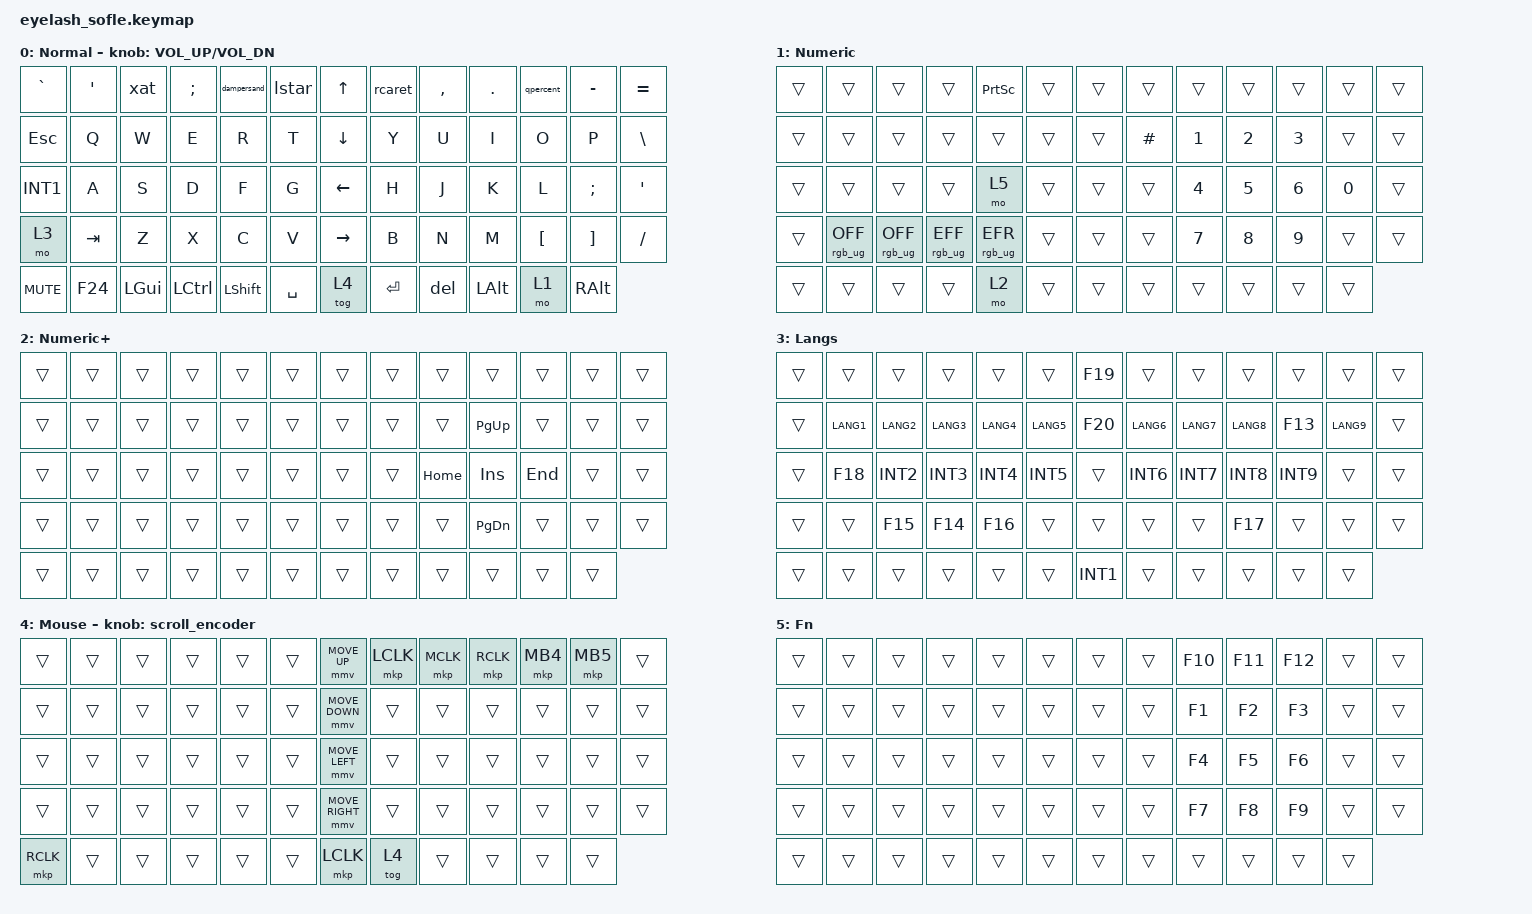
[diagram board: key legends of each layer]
#include <dt-bindings/zmk/mouse.h>
#include <input/processors.dtsi>
#include <zephyr/dt-bindings/input/input-event-codes.h>
#include <behaviors.dtsi>
#include <dt-bindings/zmk/bt.h>
#include <dt-bindings/zmk/ext_power.h>
#include <dt-bindings/zmk/keys.h>
#include <dt-bindings/zmk/pointing.h>
#include <dt-bindings/zmk/rgb.h>
#include <dt-bindings/zmk/outputs.h>

#define ZMK_POINTING_DEFAULT_MOVE_VAL 600
#define ZMK_POINTING_DEFAULT_SCRL_VAL 4

&mmv_input_listener { input-processors = <&zip_xy_scaler 2 1>; };

/* &msc_input_listener { input-processors = <&zip_scroll_scaler 2 1>; }; */

&msc {
    acceleration-exponent = <0>;
    time-to-max-speed-ms = <300>;
    delay-ms = <0>;
};

&mmv {
    time-to-max-speed-ms = <500>;
    acceleration-exponent = <1>;
    trigger-period-ms = <16>;
};


/ {

    scroll_encoder: scroll_encoder {
        compatible = "zmk,behavior-sensor-rotate";
        #sensor-binding-cells = <0>;
        bindings = <&msc SCRL_DOWN>, <&msc SCRL_UP>;
        tap-ms = <100>;
    };

    behaviors {
        // keymap to map ? and % to the same key 
        qpercent: question_percent {
            compatible = "zmk,behavior-mod-morph";
            #binding-cells = <0>;
            bindings = <&kp QMARK>, <&kp PERCENT>;
            mods = <MOD_LSFT>;
        };
        // keymap to map ! and @ to the same key 
        xat: exclamation_at {
            compatible = "zmk,behavior-mod-morph";
            #binding-cells = <0>;
            bindings = <&kp EXCL>, <&kp AT>;
            mods = <MOD_LSFT>;
        };
        // keymap to map $ and & to the same key 
        dampersand: dollar_ampersand {
            compatible = "zmk,behavior-mod-morph";
            #binding-cells = <0>;
            bindings = <&kp DOLLAR>, <&kp AMPERSAND>;
            mods = <MOD_LSFT>;
        };
        // keymap to map (  and * to the same key 
        lstar: lstar {
            compatible = "zmk,behavior-mod-morph";
            #binding-cells = <0>;
            bindings = <&kp LPAR>, <&kp ASTERISK>;
            mods = <MOD_LSFT>;
        };
        // keymap to map )  and ^ to the same key 
        rcaret: rcaret {
            compatible = "zmk,behavior-mod-morph";
            #binding-cells = <0>;
            bindings = <&kp RPAR>, <&kp CARET>;
            mods = <MOD_LSFT>;
        };
        del: backspace_with_del {
            compatible = "zmk,behavior-mod-morph";
            #binding-cells = <0>;
            bindings = <&kp BSPC>, <&kp DEL>;
            mods = <MOD_LSFT>;
        };
        /* tog_on: toggle_layer_on_only { */
        /*     compatible = "zmk,behavior-toggle-layer"; */
        /*     #binding-cells = <1>; */
        /*     display-name = "Toggle Layer On"; */
        /*     toggle-mode = "on"; */
        /* }; */
    };



    keymap {
        compatible = "zmk,keymap";

        layer_0 {
            bindings = <
&kp GRAVE   &kp APOS   &xat          &kp SEMI      &dampersand     &lstar       &kp UP     &rcaret    &kp COMMA  &kp DOT    &qpercent        &kp MINUS   &kp EQUAL
&kp ESC     &kp Q      &kp W         &kp E         &kp R           &kp T        &kp DOWN   &kp Y      &kp U      &kp I      &kp O            &kp P       &kp BSLH
&kp INT1    &kp A      &kp S         &kp D         &kp F           &kp G        &kp LEFT   &kp H      &kp J      &kp K      &kp L            &kp SEMI    &kp APOS
&mo 3       &kp TAB    &kp Z         &kp X         &kp C           &kp V        &kp RIGHT  &kp B      &kp N      &kp M      &kp LBKT         &kp RBKT    &kp FSLH
&kp C_MUTE  &kp F24    &kp LEFT_GUI  &kp LCTRL     &kp LSHFT       &kp SPACE    &tog 4     &kp ENTER  &del       &kp LALT   &mo 1            &kp RALT
            >;

            sensor-bindings = <&inc_dec_kp C_VOLUME_UP C_VOL_DN>;
            display-name = "Normal";
        };

        layer_1 {
            bindings = <
&trans      &trans          &trans          &trans            &kp PSCRN            &trans        &trans       &trans       &trans       &trans     &trans    &trans    &trans
&trans      &trans          &trans          &trans            &trans            &trans        &trans       &kp POUND    &kp N1       &kp N2     &kp N3    &trans    &trans
&trans      &trans          &trans          &trans            &mo 5             &trans        &trans       &trans       &kp N4       &kp N5     &kp N6    &kp N0       &trans
&trans      &rgb_ug RGB_OFF &rgb_ug RGB_OFF &rgb_ug RGB_EFF   &rgb_ug RGB_EFR   &trans        &trans       &trans       &kp N7       &kp N8     &kp N9    &trans    &trans
&trans      &trans          &trans          &trans            &mo 2             &trans        &trans       &trans       &trans       &trans     &trans    &trans
            >;
            display-name = "Numeric";
        };

        layer_2 {
            bindings = <
&trans      &trans          &trans          &trans            &trans            &trans        &trans       &trans       &trans       &trans     &trans    &trans    &trans
&trans      &trans          &trans          &trans            &trans            &trans        &trans       &trans       &trans       &kp PG_UP  &trans    &trans    &trans
&trans      &trans          &trans          &trans            &trans            &trans        &trans       &trans       &kp HOME     &kp INSERT &kp END   &trans    &trans
&trans      &trans          &trans          &trans            &trans            &trans        &trans       &trans       &trans       &kp PG_DN  &trans    &trans    &trans
&trans      &trans          &trans          &trans            &trans            &trans        &trans       &trans       &trans       &trans     &trans    &trans
            >;
            display-name = "Numeric+";
        };
        layer_3 {
            bindings = <
&trans  &trans     &trans     &trans     &trans     &trans       &kp F19   &trans     &trans     &trans     &trans    &trans     &trans
&trans  &kp LANG1  &kp LANG2  &kp LANG3  &kp LANG4  &kp LANG5    &kp F20   &kp LANG6  &kp LANG7  &kp LANG8  &kp F13   &kp LANG9  &trans
&trans  &kp F18    &kp INT2   &kp INT3   &kp INT4   &kp INT5     &trans    &kp INT6   &kp INT7   &kp INT8   &kp INT9  &trans     &trans
&trans  &trans     &kp F15    &kp F14    &kp F16    &trans       &trans    &trans     &trans     &kp F17    &trans    &trans     &trans
&trans  &trans     &trans     &trans     &trans     &trans       &kp INT1  &trans     &trans     &trans     &trans    &trans
            >;
            display-name = "Langs";
        };
        // just changing mouse movements and scrolls
        layer_4 {
            bindings = <
&trans      &trans          &trans          &trans     &trans     &trans       &mmv MOVE_UP     &mkp LCLK     &mkp MCLK        &mkp RCLK   &mkp MB4   &mkp MB5    &trans
&trans      &trans          &trans          &trans     &trans     &trans       &mmv MOVE_DOWN   &trans        &trans           &trans      &trans     &trans      &trans
&trans      &trans          &trans          &trans     &trans     &trans       &mmv MOVE_LEFT   &trans        &trans           &trans      &trans     &trans      &trans
&trans      &trans          &trans          &trans     &trans     &trans       &mmv MOVE_RIGHT  &trans        &trans           &trans      &trans     &trans      &trans
&mkp RCLK   &trans          &trans          &trans     &trans     &trans       &mkp LCLK        &tog 4        &trans           &trans      &trans     &trans
            >;
            display-name = "Mouse";
            sensor-bindings = <&scroll_encoder>;
        };
        layer_5 {
            bindings = <
&trans      &trans          &trans          &trans      &trans     &trans        &trans       &trans       &kp F10      &kp F11    &kp F12   &trans    &trans
&trans      &trans          &trans          &trans      &trans     &trans        &trans       &trans       &kp F1       &kp F2     &kp F3    &trans    &trans
&trans      &trans          &trans          &trans      &trans     &trans        &trans       &trans       &kp F4       &kp F5     &kp F6    &trans    &trans
&trans      &trans          &trans          &trans      &trans     &trans        &trans       &trans       &kp F7       &kp F8     &kp F9    &trans    &trans
&trans      &trans          &trans          &trans      &trans     &trans        &trans       &trans       &trans       &trans     &trans    &trans
            >;
            display-name = "Fn";
        };
    };
};
